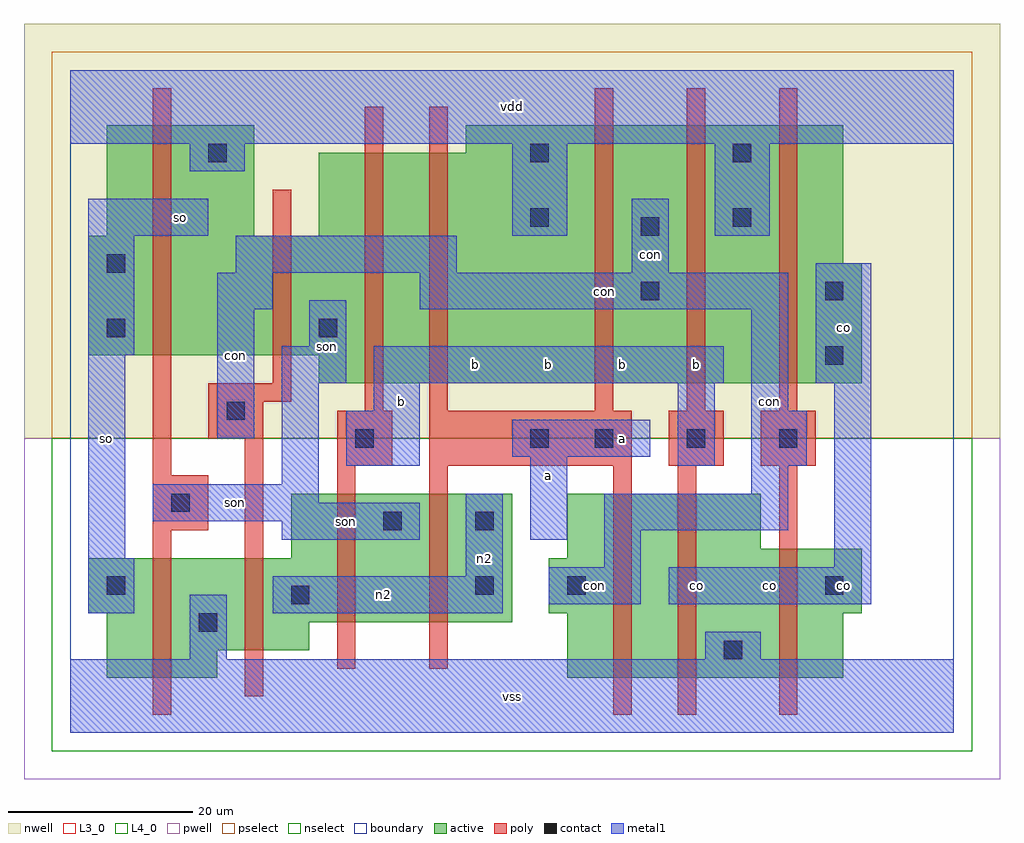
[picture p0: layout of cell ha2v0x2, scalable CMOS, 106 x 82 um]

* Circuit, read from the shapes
.subckt ha2v0x2 a b co con n2 so son vdd vss
M1 vss son so VSUBS nfet w=13u l=2u
M2 n2 con vss VSUBS nfet w=10u l=2u
M3 son b n2 VSUBS nfet w=14u l=2u
M4 n2 a son VSUBS nfet w=14u l=2u
M5 n1 a con VSUBS nfet w=20u l=2u
M6 vss b n1 VSUBS nfet w=20u l=2u
M7 co con vss VSUBS nfet w=14u l=2u
M8 vdd son so n3 pfet w=25u l=2u
M9 son con vdd n3 pfet w=13u l=2u
M10 n4 b son n3 pfet w=25u l=2u
M11 vdd a n4 n3 pfet w=25u l=2u
M12 con a vdd n3 pfet w=28u l=2u
M13 vdd b con n3 pfet w=28u l=2u
M14 co con vdd n3 pfet w=28u l=2u
.ends

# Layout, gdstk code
import gdstk
lib = gdstk.Library(unit=1e-6, precision=1e-09)
def R(c, l, rs):  # rectangles x0, y0, x1, y1
    for r in rs: c.add(gdstk.rectangle(r[:2], r[2:], *l))
def A(c, l, x, y, w, h, nx, ny, dx, dy):  # array of equal rectangles
    R(c, l, [(x+i*dx, y+j*dy, x+i*dx+w, y+j*dy+h) for i in range(nx) for j in range(ny)])
L3_0 = (3, 0)
L4_0 = (4, 0)
contact = (25, 0)
pwell = (41, 0)
nwell = (42, 0)
active = (43, 0)
pselect = (44, 0)
nselect = (45, 0)
poly = (46, 0)
metal1 = (49, 0)
boundary = (63, 0)

ha2v0x2 = lib.new_cell('ha2v0x2')
R(ha2v0x2, L3_0, [(4,6,16,9), (54,6,84,13), (4,9,26,12), (4,12,48,13), (2,13,48,19), (52,13,86,19), (24,19,48,26), (54,19,86,20), (54,20,75,26)])
R(ha2v0x2, L4_0, [(27,38,86,41), (2,41,86,51), (2,51,84,54), (4,54,20,66), (27,54,84,63), (43,63,84,66)])
A(ha2v0x2, contact, 57, 31, 2, 2, 3, 1, 10, 0)
R(ha2v0x2, contact, [(71,8,73,10), (14,11,16,13), (24,14,26,16), (4,15,6,17), (44,15,46,17), (54,15,56,17), (82,15,84,17), (34,22,36,24), (44,22,46,24), (11,24,13,26), (31,31,33,33), (50,31,52,33), (17,34,19,36), (82,40,84,42), (4,43,6,45), (27,43,29,45), (62,47,64,49), (82,47,84,49), (4,50,6,52), (62,54,64,56), (50,55,52,57), (72,55,74,57), (15,62,17,64), (50,62,52,64), (72,62,74,64)])
R(ha2v0x2, pwell, [(-5,-5,101,32)])
R(ha2v0x2, nwell, [(-5,32,101,77)])
R(ha2v0x2, active, [(4,6,16,9), (54,6,84,13), (4,9,26,12), (4,12,48,13), (2,13,48,19), (52,13,86,19), (24,19,48,26), (54,19,86,20), (54,20,75,26), (27,38,86,41), (2,41,86,51), (2,51,84,54), (4,54,20,66), (27,54,84,63), (43,63,84,66)])
R(ha2v0x2, pselect, [(-2,32,98,74)])
R(ha2v0x2, nselect, [(-2,-2,98,32)])
A(ha2v0x2, poly, 57, 35, 2, 35, 3, 1, 10, 0)
R(ha2v0x2, poly, [(9,2,11,22), (59,2,61,29), (66,2,68,29), (77,2,79,29), (19,4,21,32), (29,7,31,29), (39,7,41,29), (9,22,15,28), (9,28,11,70), (29,29,35,35), (39,29,61,35), (65,29,71,35), (75,29,81,35), (15,32,21,36), (32,35,34,68), (39,35,41,68), (15,36,24,38), (22,38,24,59)])
R(ha2v0x2, metal1, [(0,0,96,8), (13,8,17,15), (69,8,75,11), (2,13,7,19), (22,13,47,17), (52,14,62,18), (65,14,87,18), (43,17,47,26), (58,18,62,22), (83,18,87,38), (2,19,6,41), (23,21,38,23), (50,21,54,30), (58,22,78,26), (9,23,38,25), (9,25,27,27), (74,26,78,29), (23,27,27,38), (30,29,38,35), (66,29,70,38), (74,29,80,35), (48,30,63,34), (16,32,20,46), (33,35,38,38), (74,35,78,46), (23,38,30,42), (33,38,71,42), (81,38,87,51), (2,41,7,54), (26,42,30,47), (16,46,22,50), (38,46,78,50), (18,50,42,54), (61,50,65,58), (2,54,15,58), (48,54,54,64), (70,54,76,64), (13,61,19,64), (0,64,96,72)])
R(ha2v0x2, boundary, [(0,0,96,72)])
ha2v0x2.add(gdstk.Label('con', (18,41), layer=49, texttype=0))
ha2v0x2.add(gdstk.Label('son', (30,23), layer=49, texttype=0))
ha2v0x2.add(gdstk.Label('son', (18,25), layer=49, texttype=0))
ha2v0x2.add(gdstk.Label('son', (28,42), layer=49, texttype=0))
ha2v0x2.add(gdstk.Label('n2', (34,15), layer=49, texttype=0))
ha2v0x2.add(gdstk.Label('con', (57,16), layer=49, texttype=0))
ha2v0x2.add(gdstk.Label('n2', (45,19), layer=49, texttype=0))
ha2v0x2.add(gdstk.Label('con', (76,36), layer=49, texttype=0))
ha2v0x2.add(gdstk.Label('con', (58,48), layer=49, texttype=0))
ha2v0x2.add(gdstk.Label('con', (63,52), layer=49, texttype=0))
ha2v0x2.add(gdstk.Label('so', (4,32), layer=49, texttype=0))
ha2v0x2.add(gdstk.Label('so', (12,56), layer=49, texttype=0))
ha2v0x2.add(gdstk.Label('b', (44,40), layer=49, texttype=0))
ha2v0x2.add(gdstk.Label('b', (36,36), layer=49, texttype=0))
ha2v0x2.add(gdstk.Label('vss', (48,4), layer=49, texttype=0))
ha2v0x2.add(gdstk.Label('co', (68,16), layer=49, texttype=0))
ha2v0x2.add(gdstk.Label('a', (52,28), layer=49, texttype=0))
ha2v0x2.add(gdstk.Label('a', (60,32), layer=49, texttype=0))
ha2v0x2.add(gdstk.Label('b', (68,40), layer=49, texttype=0))
ha2v0x2.add(gdstk.Label('b', (60,40), layer=49, texttype=0))
ha2v0x2.add(gdstk.Label('b', (52,40), layer=49, texttype=0))
ha2v0x2.add(gdstk.Label('vdd', (48,68), layer=49, texttype=0))
ha2v0x2.add(gdstk.Label('co', (84,16), layer=49, texttype=0))
ha2v0x2.add(gdstk.Label('co', (76,16), layer=49, texttype=0))
ha2v0x2.add(gdstk.Label('co', (84,44), layer=49, texttype=0))

lib.write_gds('ha2v0x2.gds')
